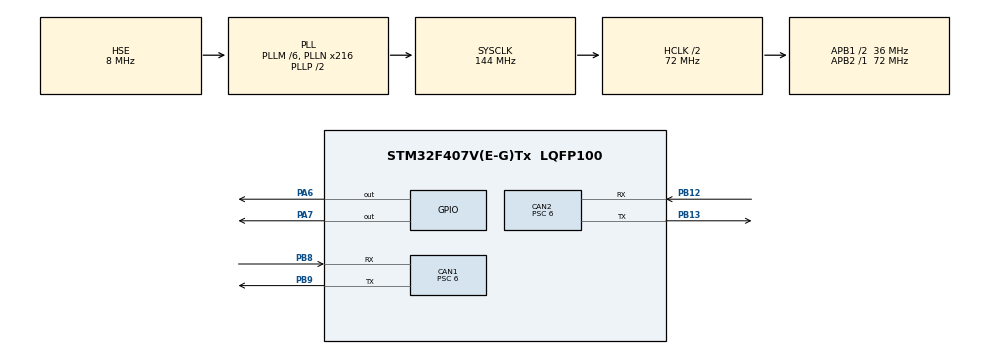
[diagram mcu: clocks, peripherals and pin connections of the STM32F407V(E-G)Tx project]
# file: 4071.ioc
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CAN1.AWUM=ENABLE
CAN1.BS1=CAN_BS1_7TQ
CAN1.BS2=CAN_BS2_4TQ
CAN1.CalculateBaudRate=500000
CAN1.CalculateTimeBit=1999.99
CAN1.CalculateTimeQuantum=166.66666666666669
CAN1.Prescaler=6
CAN1.TXFP=ENABLE
CAN2.AWUM=ENABLE
CAN2.BS1=CAN_BS1_7TQ
CAN2.BS2=CAN_BS2_4TQ
CAN2.CalculateBaudRate=500000
CAN2.CalculateTimeBit=1999.99
CAN2.CalculateTimeQuantum=166.66666666666669
CAN2.Prescaler=6
CAN2.TXFP=ENABLE
Mcu.Family=STM32F4
Mcu.Name=STM32F407V(E-G)Tx
Mcu.Package=LQFP100
NVIC.CAN1_RX0_IRQn=true\:1\:0\:true\:false\:true\:true\:true
NVIC.CAN1_RX1_IRQn=true\:1\:0\:true\:false\:true\:true\:true
NVIC.CAN1_SCE_IRQn=true\:3\:0\:true\:false\:true\:true\:true
NVIC.CAN2_RX0_IRQn=true\:2\:0\:true\:false\:true\:true\:true
NVIC.CAN2_SCE_IRQn=true\:4\:0\:true\:false\:true\:true\:true
NVIC.PriorityGroup=NVIC_PRIORITYGROUP_4
PA13.Mode=Serial_Wire
PA13.Signal=SYS_JTMS-SWDIO
PA14.Mode=Serial_Wire
PA14.Signal=SYS_JTCK-SWCLK
PA6.Signal=GPIO_Output
PA7.Signal=GPIO_Output
PB12.Mode=CAN_Activate
PB12.Signal=CAN2_RX
PB13.Mode=CAN_Activate
PB13.Signal=CAN2_TX
PB8.Mode=CAN_Activate
PB8.Signal=CAN1_RX
PB9.Mode=CAN_Activate
PB9.Signal=CAN1_TX
PH0-OSC_IN.Mode=HSE-External-Oscillator
PH0-OSC_IN.Signal=RCC_OSC_IN
PH1-OSC_OUT.Mode=HSE-External-Oscillator
PH1-OSC_OUT.Signal=RCC_OSC_OUT
ProjectManager.HeapSize=0x200
ProjectManager.StackSize=0x400
ProjectManager.TargetToolchain=MDK-ARM V5.27
RCC.48MHZClocksFreq_Value=72000000
RCC.AHBCLKDivider=RCC_SYSCLK_DIV2
RCC.AHBFreq_Value=72000000
RCC.APB1CLKDivider=RCC_HCLK_DIV2
RCC.APB1Freq_Value=36000000
RCC.APB1TimFreq_Value=72000000
RCC.APB2Freq_Value=72000000
RCC.APB2TimFreq_Value=72000000
RCC.CortexFreq_Value=72000000
RCC.HCLKFreq_Value=72000000
RCC.HSE_VALUE=8000000
RCC.HSI_VALUE=16000000
RCC.LSE_VALUE=32768
RCC.PLLM=6
RCC.PLLN=216
RCC.PLLSourceVirtual=RCC_PLLSOURCE_HSE
RCC.SYSCLKFreq_VALUE=144000000
RCC.SYSCLKSource=RCC_SYSCLKSOURCE_PLLCLK
RCC.VCOOutputFreq_Value=288000000
board=custom

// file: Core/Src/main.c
/* USER CODE BEGIN Header */
/**
  ******************************************************************************
  * @file           : main.c
  * @brief          : Main program body
  ******************************************************************************
  * @attention
  *
  * <h2><center>&copy; Copyright (c) 2021 STMicroelectronics.
  * All rights reserved.</center></h2>
  *
  * This software component is licensed by ST under BSD 3-Clause license,
  * the "License"; You may not use this file except in compliance with the
  * License. You may obtain a copy of the License at:
  *                        opensource.org/licenses/BSD-3-Clause
  *
  ******************************************************************************
  */
/* USER CODE END Header */
#include "main.h"

/* USER CODE BEGIN PD */

/*
void HAL_CAN_RxFifo0MsgPendingCallback(CAN_HandleTypeDef *hcan)
{
	  CAN_RxHeaderTypeDef msgHeaderRX;
  uint32_t msgIdRX = 0;
  uint8_t msgDataRX[8];

	if(HAL_CAN_GetRxMessage(hcan, CAN_RX_FIFO0, &rxHeader, canRX) == HAL_OK){

					HAL_GPIO_TogglePin(GPIOA, GPIO_PIN_6);
		}
}

*/

/* USER CODE END PD */

/* USER CODE BEGIN PM */

void Init_IWDG(uint16_t tw){
// ??? IWDG_PR=7 Tmin=6,4?? RLR=T??*40/256
	IWDG->KR=0x5555; // ???? ??? ??????? ? ???????
	IWDG->PR=7; // ?????????? IWDG_PR
	IWDG->RLR=tw*40/256; // ????????? ??????? ????????????
	IWDG->KR=0xAAAA; // ????????????
	IWDG->KR=0xCCCC; // ???? ???????
	}

// ??????? ???????????? ??????????? ??????? IWDG
void IWDG_reset(void){
	IWDG->KR=0xAAAA; // ????????????
	}

	CAN_TxHeaderTypeDef TxHeaderINCAN1;
	CAN_RxHeaderTypeDef RxHeaderINCAN1;
	uint8_t TxDataINCAN1[8] = {0,};
	uint8_t RxDataINCAN1[8] = {0,};
	uint32_t TxMailboxINCAN1 = 0;

	CAN_TxHeaderTypeDef TxHeaderOUTCAN2;
	CAN_RxHeaderTypeDef RxHeaderOUTCAN2;
	uint8_t TxDataOUTCAN2[8] = {0,};
	uint8_t RxDataOUTCAN2[8] = {0,};
	uint32_t TxMailboxOUTCAN2 = 0;
	uint32_t fr = 0x214;
	uint32_t fv = 0x215;

/* USER CODE END PM */

CAN_HandleTypeDef hcan1;
CAN_HandleTypeDef hcan2;

/* USER CODE BEGIN PV */
	// From Dashboard to CAN
		void HAL_CAN_RxFifo0MsgPendingCallback(CAN_HandleTypeDef *hcan){

					  HAL_CAN_GetRxMessage(&hcan2, CAN_RX_FIFO0, &RxHeaderOUTCAN2, RxDataOUTCAN2);
					if ((HAL_CAN_GetTxMailboxesFreeLevel(&hcan1) != 0))
  {
	//	if((RxHeaderOUTCAN2.StdId!=fr) && (RxHeaderOUTCAN2.StdId!=fv)){
    CAN_TxHeaderTypeDef msgHeader;
    uint8_t msgData[8];
    msgHeader.StdId = RxHeaderOUTCAN2.StdId;
    msgHeader.DLC = 8;
    msgHeader.TransmitGlobalTime = DISABLE;
    msgHeader.RTR = CAN_RTR_DATA;
    msgHeader.IDE = CAN_ID_STD;

//    uint32_t mailBoxNum = 0;

    for (uint8_t i = 0; i < 8; i++)
    {
      msgData[i] = RxDataOUTCAN2[i];
    }

    HAL_CAN_AddTxMessage(&hcan1, &msgHeader, msgData, &TxMailboxINCAN1);
		IWDG_reset();
//	}
	  }
	}

	typedef struct speed{
	uint8_t data[2];			// Data 0 - first 1- second
} speed; //creating new type

	uint32_t convertSpeedToUint(speed sp){
		uint32_t convertedSpeed;
		uint32_t A = (uint32_t)sp.data[1]*100/128;
		uint32_t B = (uint32_t)sp.data[0]*200;
		convertedSpeed = (B+A);
		return convertedSpeed;
	}

	speed convertUint32toSpeed(uint32_t sp){
		uint32_t counter=0;
		while(sp>200){
			sp=sp-200;
			counter++;
		}
		speed result;
		result.data[0]=(uint8_t)counter;
		result.data[1]=(uint8_t)(sp*128/100);
		return result;
	}

	speed calculate_NewSpeed(speed value, uint32_t mod)
	{
		uint32_t sp = convertSpeedToUint(value);
		sp=sp*mod/100;

		speed result = convertUint32toSpeed(sp);
		return result;
	}

	// from CAN to dashboard
	void HAL_CAN_RxFifo1MsgPendingCallback(CAN_HandleTypeDef *hcan)
	{
	HAL_GPIO_TogglePin(GPIOA, GPIO_PIN_6);
	HAL_GPIO_WritePin(GPIOA, GPIO_PIN_7, GPIO_PIN_SET);

					  HAL_CAN_GetRxMessage(&hcan1, CAN_RX_FIFO1, &RxHeaderINCAN1, RxDataINCAN1);
					if (HAL_CAN_GetTxMailboxesFreeLevel(&hcan2) != 0)
  {
		if((RxHeaderINCAN1.StdId!=fr) && (RxHeaderINCAN1.StdId!=fv)){
    CAN_TxHeaderTypeDef msgHeader;
    uint8_t msgData[8];
    msgHeader.StdId = RxHeaderINCAN1.StdId;
    msgHeader.DLC = 8;
    msgHeader.TransmitGlobalTime = DISABLE;
    msgHeader.RTR = CAN_RTR_DATA;
    msgHeader.IDE = CAN_ID_STD;

//    uint32_t mailBoxNum = 0;

    for (uint8_t i = 0; i < 8; i++)
    {
      msgData[i] = RxDataINCAN1[i];
    }
    HAL_CAN_AddTxMessage(&hcan2, &msgHeader, msgData, &TxMailboxOUTCAN2);

	  }
		else if((RxHeaderINCAN1.StdId==fr) || (RxHeaderINCAN1.StdId==fv)){
    CAN_TxHeaderTypeDef msgHeader;
    uint8_t msgData[8];
    msgHeader.StdId = RxHeaderINCAN1.StdId;
    msgHeader.DLC = 8;
    msgHeader.TransmitGlobalTime = DISABLE;
    msgHeader.RTR = CAN_RTR_DATA;
    msgHeader.IDE = CAN_ID_STD;

//    uint32_t mailBoxNum = 0;

    for (uint8_t i = 2; i < 8; i++)
    {
      msgData[i] = RxDataINCAN1[i];
    }

		speed curS;
		curS.data[0]=RxDataINCAN1[0];
		curS.data[1]=RxDataINCAN1[1];

		speed newS;
		newS = calculate_NewSpeed(curS, 110);

		msgData[0]= newS.data[0];
		msgData[1]= newS.data[1];

    HAL_CAN_AddTxMessage(&hcan2, &msgHeader, msgData, &TxMailboxOUTCAN2);
				IWDG_reset();
	  }
	}
	}

/* USER CODE END PV */

void SystemClock_Config(void);
static void MX_GPIO_Init(void);
static void MX_CAN1_Init(void);
static void MX_CAN2_Init(void);

int main(void)
{

  /* MCU Configuration--------------------------------------------------------*/

  /* Reset of all peripherals, Initializes the Flash interface and the Systick. */
  HAL_Init();

  /* Configure the system clock */
  SystemClock_Config();

  /* Initialize all configured peripherals */
  MX_GPIO_Init();
  MX_CAN1_Init();
  MX_CAN2_Init();
  /* USER CODE BEGIN 2 */

  HAL_CAN_Start(&hcan1);
  HAL_CAN_Start(&hcan2);

		HAL_CAN_ActivateNotification(&hcan1, CAN_IT_RX_FIFO1_MSG_PENDING);
	  HAL_CAN_ActivateNotification(&hcan2, CAN_IT_RX_FIFO0_MSG_PENDING);

		HAL_GPIO_TogglePin(GPIOA, GPIO_PIN_6);
		HAL_GPIO_TogglePin(GPIOA, GPIO_PIN_7);
  /* USER CODE END 2 */

  /* Infinite loop */
  /* USER CODE BEGIN WHILE */
			HAL_GPIO_WritePin(GPIOA, GPIO_PIN_7, GPIO_PIN_RESET);
				Init_IWDG(1000);
  while (1)
  {

	/*	HAL_Delay(333);

	  if (HAL_CAN_GetTxMailboxesFreeLevel(&hcan2) != 0)
  {
    CAN_TxHeaderTypeDef msgHeaderTX;
    uint8_t msgDataTX[8];
    msgHeaderTX.StdId = 0x333;
    msgHeaderTX.DLC = 8;
    msgHeaderTX.TransmitGlobalTime = DISABLE;
    msgHeaderTX.RTR = CAN_RTR_DATA;
    msgHeaderTX.IDE = CAN_ID_STD;

    uint32_t mailBoxNum = 0;

    for (uint8_t i = 0; i < 8; i++)
    {
      msgDataTX[i] = i;
    }

    HAL_CAN_AddTxMessage(&hcan2, &msgHeaderTX, msgDataTX, &mailBoxNum);
  }
	*/

//  HAL_CAN_GetRxMessage(&hcan1, CAN_RX_FIFO0, &msgHeaderRX, msgDataRX);

//		HAL_GPIO_TogglePin(GPIOA, GPIO_PIN_6);

    /* USER CODE END WHILE */

  }
}

void SystemClock_Config(void)
{
  RCC_OscInitTypeDef RCC_OscInitStruct = {0};
  RCC_ClkInitTypeDef RCC_ClkInitStruct = {0};

  /** Configure the main internal regulator output voltage
  */
  __HAL_RCC_PWR_CLK_ENABLE();
  __HAL_PWR_VOLTAGESCALING_CONFIG(PWR_REGULATOR_VOLTAGE_SCALE1);
  /** Initializes the RCC Oscillators according to the specified parameters
  * in the RCC_OscInitTypeDef structure.
  */
  RCC_OscInitStruct.OscillatorType = RCC_OSCILLATORTYPE_HSE;
  RCC_OscInitStruct.HSEState = RCC_HSE_ON;
  RCC_OscInitStruct.PLL.PLLState = RCC_PLL_ON;
  RCC_OscInitStruct.PLL.PLLSource = RCC_PLLSOURCE_HSE;
  RCC_OscInitStruct.PLL.PLLM = 6;
  RCC_OscInitStruct.PLL.PLLN = 216;
  RCC_OscInitStruct.PLL.PLLP = RCC_PLLP_DIV2;
  RCC_OscInitStruct.PLL.PLLQ = 4;
  if (HAL_RCC_OscConfig(&RCC_OscInitStruct) != HAL_OK)
  {
    Error_Handler();
  }
  /** Initializes the CPU, AHB and APB buses clocks
  */
  RCC_ClkInitStruct.ClockType = RCC_CLOCKTYPE_HCLK|RCC_CLOCKTYPE_SYSCLK
                              |RCC_CLOCKTYPE_PCLK1|RCC_CLOCKTYPE_PCLK2;
  RCC_ClkInitStruct.SYSCLKSource = RCC_SYSCLKSOURCE_PLLCLK;
  RCC_ClkInitStruct.AHBCLKDivider = RCC_SYSCLK_DIV2;
  RCC_ClkInitStruct.APB1CLKDivider = RCC_HCLK_DIV2;
  RCC_ClkInitStruct.APB2CLKDivider = RCC_HCLK_DIV1;

  if (HAL_RCC_ClockConfig(&RCC_ClkInitStruct, FLASH_LATENCY_2) != HAL_OK)
  {
    Error_Handler();
  }
}

static void MX_CAN1_Init(void)
{

  hcan1.Instance = CAN1;
  hcan1.Init.Prescaler = 6;
  hcan1.Init.Mode = CAN_MODE_NORMAL;
  hcan1.Init.SyncJumpWidth = CAN_SJW_1TQ;
  hcan1.Init.TimeSeg1 = CAN_BS1_7TQ;
  hcan1.Init.TimeSeg2 = CAN_BS2_4TQ;
  hcan1.Init.TimeTriggeredMode = DISABLE;
  hcan1.Init.AutoBusOff = ENABLE;
  hcan1.Init.AutoWakeUp = ENABLE;
  hcan1.Init.AutoRetransmission = ENABLE;
  hcan1.Init.ReceiveFifoLocked = DISABLE;
  hcan1.Init.TransmitFifoPriority = ENABLE;
  if (HAL_CAN_Init(&hcan1) != HAL_OK)
  {
    Error_Handler();
  }
  /* USER CODE BEGIN CAN1_Init 2 */

	CAN_FilterTypeDef sFilterConfig;
	sFilterConfig.FilterBank = 0;
  sFilterConfig.FilterMode = CAN_FILTERMODE_IDMASK;
  sFilterConfig.FilterScale = CAN_FILTERSCALE_32BIT;
  sFilterConfig.FilterIdHigh = 0x0000;
  sFilterConfig.FilterIdLow = 0x0000;
  sFilterConfig.FilterMaskIdHigh = 0x0000;
  sFilterConfig.FilterMaskIdLow = 0x0000;
  sFilterConfig.FilterFIFOAssignment = CAN_RX_FIFO1;
  sFilterConfig.FilterActivation = ENABLE;
  sFilterConfig.SlaveStartFilterBank = 14;

  if(HAL_CAN_ConfigFilter(&hcan1, &sFilterConfig) != HAL_OK)
  {
    Error_Handler();
  }

  /* USER CODE END CAN1_Init 2 */

}

static void MX_CAN2_Init(void)
{

  hcan2.Instance = CAN2;
  hcan2.Init.Prescaler = 6;
  hcan2.Init.Mode = CAN_MODE_NORMAL;
  hcan2.Init.SyncJumpWidth = CAN_SJW_1TQ;
  hcan2.Init.TimeSeg1 = CAN_BS1_7TQ;
  hcan2.Init.TimeSeg2 = CAN_BS2_4TQ;
  hcan2.Init.TimeTriggeredMode = DISABLE;
  hcan2.Init.AutoBusOff = ENABLE;
  hcan2.Init.AutoWakeUp = ENABLE;
  hcan2.Init.AutoRetransmission = ENABLE;
  hcan2.Init.ReceiveFifoLocked = DISABLE;
  hcan2.Init.TransmitFifoPriority = ENABLE;
  if (HAL_CAN_Init(&hcan2) != HAL_OK)
  {
    Error_Handler();
  }
  /* USER CODE BEGIN CAN2_Init 2 */
	CAN_FilterTypeDef sFilterConfig;
	sFilterConfig.FilterBank = 14 ;
  sFilterConfig.FilterMode = CAN_FILTERMODE_IDMASK;
  sFilterConfig.FilterScale = CAN_FILTERSCALE_32BIT;
  sFilterConfig.FilterIdHigh = 0x0000;
  sFilterConfig.FilterIdLow = 0x0000;
  sFilterConfig.FilterMaskIdHigh = 0x0000;
  sFilterConfig.FilterMaskIdLow = 0x0000;
  sFilterConfig.FilterFIFOAssignment = CAN_RX_FIFO0;
  sFilterConfig.FilterActivation = ENABLE;
  sFilterConfig.SlaveStartFilterBank = 14;

  if(HAL_CAN_ConfigFilter(&hcan2, &sFilterConfig) != HAL_OK)
  {
    Error_Handler();
  }

  /* USER CODE END CAN2_Init 2 */

}

static void MX_GPIO_Init(void)
{
  GPIO_InitTypeDef GPIO_InitStruct = {0};

  /* GPIO Ports Clock Enable */
  __HAL_RCC_GPIOH_CLK_ENABLE();
  __HAL_RCC_GPIOA_CLK_ENABLE();
  __HAL_RCC_GPIOB_CLK_ENABLE();

  /*Configure GPIO pin Output Level */
  HAL_GPIO_WritePin(GPIOA, GPIO_PIN_6|GPIO_PIN_7, GPIO_PIN_RESET);

  /*Configure GPIO pins : PA6 PA7 */
  GPIO_InitStruct.Pin = GPIO_PIN_6|GPIO_PIN_7;
  GPIO_InitStruct.Mode = GPIO_MODE_OUTPUT_PP;
  GPIO_InitStruct.Pull = GPIO_NOPULL;
  GPIO_InitStruct.Speed = GPIO_SPEED_FREQ_LOW;
  HAL_GPIO_Init(GPIOA, &GPIO_InitStruct);

}

void Error_Handler(void)
{
  /* USER CODE BEGIN Error_Handler_Debug */
  /* User can add his own implementation to report the HAL error return state */
 // __disable_irq();
//  while (1)
//  {
//  }
  /* USER CODE END Error_Handler_Debug */
}

/************************ (C) COPYRIGHT STMicroelectronics *****END OF FILE****/
